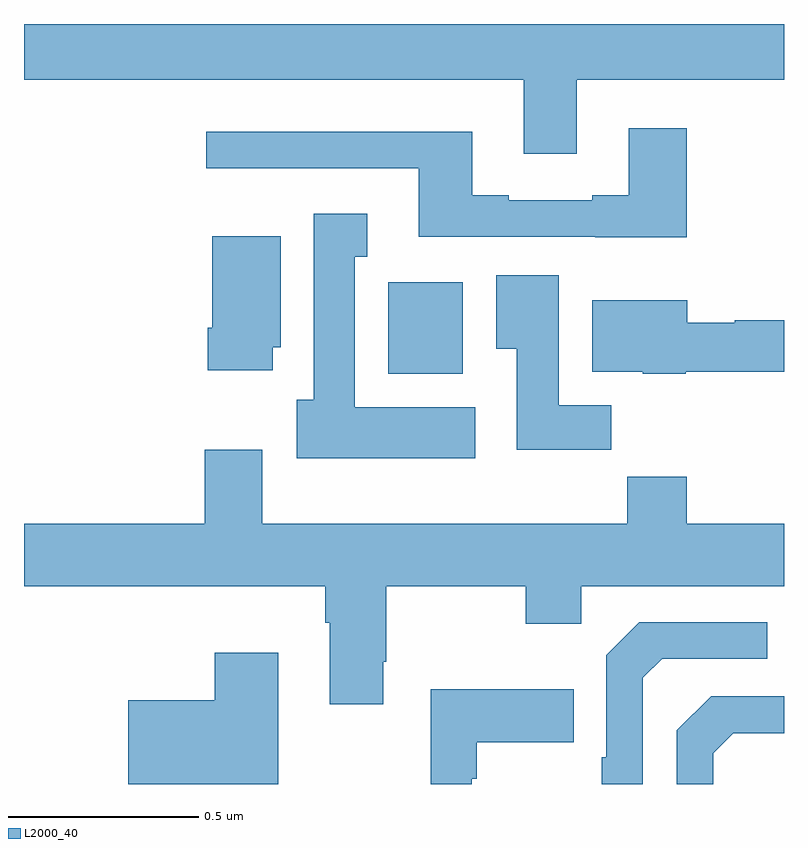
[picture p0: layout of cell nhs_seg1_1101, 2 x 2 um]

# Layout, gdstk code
import gdstk
lib = gdstk.Library(unit=1e-6, precision=1e-09)
def R(c, l, rs):  # rectangles x0, y0, x1, y1
    for r in rs: c.add(gdstk.rectangle(r[:2], r[2:], *l))
def P(c, l, *ps):  # polygons
    for p in ps: c.add(gdstk.Polygon(p, *l))
L2000_40 = (2000, 40)

nhs_seg1_1101 = lib.new_cell('nhs_seg1_1101')
R(nhs_seg1_1101, L2000_40, [(124.958,564.278,125.155,564.52)])
P(nhs_seg1_1101, L2000_40, [(125.455,565.052),(126,565.052),(126,565.199),(124,565.199),(124,565.052),(125.315,565.052),(125.315,564.858),(125.455,564.858)],
  [(125.744,564.925),(125.591,564.925),(125.591,564.748),(125.495,564.748),(125.495,564.735),(125.275,564.735),(125.275,564.748),(125.179,564.748),(125.179,564.916),(124.479,564.916),(124.479,564.819),(125.039,564.819),(125.039,564.639),(125.503,564.639),(125.503,564.638),(125.744,564.638)],
  [(125.188,564.19),(124.87,564.19),(124.87,564.587),(124.903,564.587),(124.903,564.7),(124.763,564.7),(124.763,564.21),(124.718,564.21),(124.718,564.056),(125.188,564.056)],
  [(124.654,564.348),(124.675,564.348),(124.675,564.64),(124.496,564.64),(124.496,564.4),(124.484,564.4),(124.484,564.288),(124.654,564.288)],
  [(125.546,564.196),(125.407,564.196),(125.407,564.538),(125.243,564.538),(125.243,564.344),(125.297,564.344),(125.297,564.078),(125.546,564.078)],
  [(125.742,564.284),(126,564.284),(126,564.419),(125.871,564.419),(125.871,564.413),(125.746,564.413),(125.746,564.472),(125.495,564.472),(125.495,564.284),(125.628,564.284),(125.628,564.278),(125.742,564.278)],
  [(124.945,563.521),(124.953,563.521),(124.953,563.72),(125.32,563.72),(125.32,563.621),(125.466,563.621),(125.466,563.72),(126,563.72),(126,563.884),(125.744,563.884),(125.744,564.008),(125.587,564.008),(125.587,563.884),(124.627,563.884),(124.627,564.079),(124.475,564.079),(124.475,563.884),(124,563.884),(124,563.72),(124.793,563.72),(124.793,563.624),(124.805,563.624),(124.805,563.409),(124.945,563.409)],
  [(125.628,563.478),(125.679,563.529),(125.956,563.529),(125.956,563.625),(125.619,563.625),(125.532,563.538),(125.532,563.269),(125.52,563.269),(125.52,563.199),(125.628,563.199)],
  [(124.669,563.545),(124.502,563.545),(124.502,563.419),(124.274,563.419),(124.274,563.199),(124.669,563.199)],
  [(125.178,563.213),(125.191,563.213),(125.191,563.309),(125.447,563.309),(125.447,563.449),(125.07,563.449),(125.07,563.199),(125.178,563.199)],
  [(125.814,563.28),(125.867,563.333),(126,563.333),(126,563.43),(125.808,563.43),(125.718,563.34),(125.718,563.199),(125.814,563.199)])

lib.write_gds('nhs_seg1_1101.gds')
